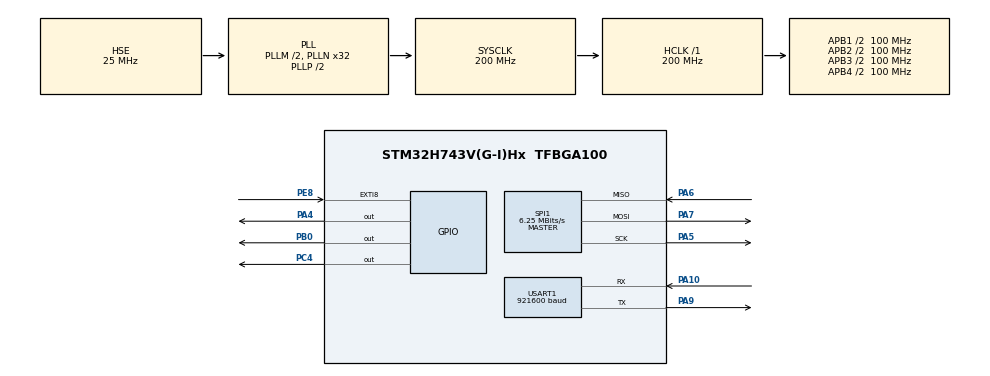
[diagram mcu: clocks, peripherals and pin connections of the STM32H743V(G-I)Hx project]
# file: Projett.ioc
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CORTEX_M7.default_mode_Activation=1
Dma.Request0=USART1_TX
Dma.USART1_TX.0.Direction=DMA_MEMORY_TO_PERIPH
Dma.USART1_TX.0.EventEnable=DISABLE
Dma.USART1_TX.0.FIFOMode=DMA_FIFOMODE_DISABLE
Dma.USART1_TX.0.Instance=DMA1_Stream0
Dma.USART1_TX.0.MemDataAlignment=DMA_MDATAALIGN_BYTE
Dma.USART1_TX.0.MemInc=DMA_MINC_ENABLE
Dma.USART1_TX.0.Mode=DMA_NORMAL
Dma.USART1_TX.0.PeriphDataAlignment=DMA_PDATAALIGN_BYTE
Dma.USART1_TX.0.PeriphInc=DMA_PINC_DISABLE
Dma.USART1_TX.0.Polarity=HAL_DMAMUX_REQ_GEN_RISING
Dma.USART1_TX.0.Priority=DMA_PRIORITY_LOW
Dma.USART1_TX.0.RequestNumber=1
Dma.USART1_TX.0.SignalID=NONE
Dma.USART1_TX.0.SyncEnable=DISABLE
Dma.USART1_TX.0.SyncPolarity=HAL_DMAMUX_SYNC_NO_EVENT
Dma.USART1_TX.0.SyncRequestNumber=1
Dma.USART1_TX.0.SyncSignalID=NONE
Mcu.Family=STM32H7
Mcu.Name=STM32H743V(G-I)Hx
Mcu.Package=TFBGA100
NVIC.DMA1_Stream0_IRQn=true\:0\:0\:false\:false\:true\:false\:true\:true
NVIC.EXTI9_5_IRQn=true\:0\:0\:false\:false\:true\:true\:true\:true
NVIC.PriorityGroup=NVIC_PRIORITYGROUP_4
NVIC.USART1_IRQn=true\:0\:0\:false\:false\:true\:true\:true\:true
PA10.GPIO_Speed=GPIO_SPEED_FREQ_VERY_HIGH
PA10.Mode=Asynchronous
PA10.Signal=USART1_RX
PA4.GPIO_ModeDefaultOutputPP=GPIO_MODE_OUTPUT_PP
PA4.GPIO_Speed=GPIO_SPEED_FREQ_HIGH
PA4.PinState=GPIO_PIN_SET
PA4.Signal=GPIO_Output
PA5.Mode=Full_Duplex_Master
PA5.Signal=SPI1_SCK
PA6.Mode=Full_Duplex_Master
PA6.Signal=SPI1_MISO
PA7.Mode=Full_Duplex_Master
PA7.Signal=SPI1_MOSI
PA9.GPIO_Speed=GPIO_SPEED_FREQ_VERY_HIGH
PA9.Mode=Asynchronous
PA9.Signal=USART1_TX
PB0.GPIO_ModeDefaultOutputPP=GPIO_MODE_OUTPUT_PP
PB0.GPIO_Speed=GPIO_SPEED_FREQ_HIGH
PB0.PinState=GPIO_PIN_SET
PB0.Signal=GPIO_Output
PC4.GPIO_ModeDefaultOutputPP=GPIO_MODE_OUTPUT_PP
PC4.GPIO_PuPd=GPIO_NOPULL
PC4.GPIO_Speed=GPIO_SPEED_FREQ_HIGH
PC4.PinState=GPIO_PIN_SET
PC4.Signal=GPIO_Output
PE8.GPIO_ModeDefaultEXTI=GPIO_MODE_IT_RISING
PE8.GPIO_PuPd=GPIO_PULLDOWN
PE8.Signal=GPXTI8
PH0-OSC_IN\ (PH0).Mode=HSE-External-Oscillator
PH0-OSC_IN\ (PH0).Signal=RCC_OSC_IN
PH1-OSC_OUT\ (PH1).Mode=HSE-External-Oscillator
PH1-OSC_OUT\ (PH1).Signal=RCC_OSC_OUT
ProjectManager.HeapSize=0x200
ProjectManager.StackSize=0x400
ProjectManager.TargetToolchain=MDK-ARM V5.32
RCC.ADCFreq_Value=50390625
RCC.APB1Freq_Value=100000000
RCC.APB2Freq_Value=100000000
RCC.APB3Freq_Value=100000000
RCC.APB4Freq_Value=100000000
RCC.CortexFreq_Value=200000000
RCC.D1PPRE=RCC_APB3_DIV2
RCC.D2PPRE1=RCC_APB1_DIV2
RCC.D2PPRE2=RCC_APB2_DIV2
RCC.D3PPRE=RCC_APB4_DIV2
RCC.DIVM1=2
RCC.DIVM3=4
RCC.DIVN1=32
RCC.DIVN3=40
RCC.DIVP3=5
RCC.DIVQ3=5
RCC.HCLKFreq_Value=200000000
RCC.HSE_VALUE=25000000
RCC.PLL2FRACN=0
RCC.PLL3FRACN=0
RCC.PLLFRACN=0
RCC.PLLSourceVirtual=RCC_PLLSOURCE_HSE
RCC.SPI123CLockSelection=RCC_SPI123CLKSOURCE_PLL3
RCC.SPI6CLockSelection=RCC_SPI6CLKSOURCE_HSI
RCC.SYSCLKFreq_VALUE=200000000
RCC.SYSCLKSource=RCC_SYSCLKSOURCE_PLLCLK
RCC.USART16CLockSelection=RCC_USART16CLKSOURCE_PLL3
RCC.USBFreq_Value=200000000
SPI1.BaudRatePrescaler=SPI_BAUDRATEPRESCALER_8
SPI1.CalculateBaudRate=6.25 MBits/s
SPI1.DataSize=SPI_DATASIZE_8BIT
SPI1.Direction=SPI_DIRECTION_2LINES
SPI1.Mode=SPI_MODE_MASTER
SPI1.VirtualType=VM_MASTER
USART1.BaudRate=921600
USART1.VirtualMode-Asynchronous=VM_ASYNC
VP_MEMORYMAP_VS_MEMORYMAP.Mode=CurAppReg
board=custom

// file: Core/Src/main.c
/* USER CODE BEGIN Header */
/**
  ******************************************************************************
  * @file           : main.c
  * @brief          : Main program body
  ******************************************************************************
  * @attention
  *
  * Copyright (c) 2026 STMicroelectronics.
  * All rights reserved.
  *
  * This software is licensed under terms that can be found in the LICENSE file
  * in the root directory of this software component.
  * If no LICENSE file comes with this software, it is provided AS-IS.
  *
  ******************************************************************************
  */
/* USER CODE END Header */
#include "main.h"
#include "dma.h"
#include "memorymap.h"
#include "spi.h"
#include "usart.h"
#include "gpio.h"

/* USER CODE BEGIN PV */
SCH1_result sch_data;
uint8_t sch_dryFlag = 0;
MMC5983_Data_TypeDef mmc_data;
MMC5983_Error_TypeDef Err_out;
int8_t Err_Init = 0;
/* USER CODE END PV */

void SystemClock_Config(void);
void PeriphCommonClock_Config(void);
static void MPU_Config(void);

int main(void)
{

  /* MPU Configuration--------------------------------------------------------*/
  MPU_Config();

  /* MCU Configuration--------------------------------------------------------*/

  /* Reset of all peripherals, Initializes the Flash interface and the Systick. */
  HAL_Init();

  /* Configure the system clock */
  SystemClock_Config();

  /* Configure the peripherals common clocks */
  PeriphCommonClock_Config();

  /* Initialize all configured peripherals */
  MX_GPIO_Init();
  MX_DMA_Init();
  MX_USART1_UART_Init();
  MX_SPI1_Init();
  /* USER CODE BEGIN 2 */
  Err_Init = SCH16T_SetFilter_and_Init(true);
  MMC5983_Init();

  Err_out = MMC5983_ID_Verify();
  /* USER CODE END 2 */

  /* Infinite loop */
  /* USER CODE BEGIN WHILE */
	while (1)
	{
		if (sch_dryFlag == 1) //未做分频，dry频率为737.5Hz，后续根据需求软件分频
		{
			sch_dryFlag = 0;
			SCH16T_GetSingleData(&sch_data);
			MMC5983_Data_Read(&mmc_data);	//以100hz速率读取磁力计数据即可
			SendData_226Byte();
		}

    /* USER CODE END WHILE */

  }
}

void SystemClock_Config(void)
{
  RCC_OscInitTypeDef RCC_OscInitStruct = {0};
  RCC_ClkInitTypeDef RCC_ClkInitStruct = {0};

  /** Supply configuration update enable
  */
  HAL_PWREx_ConfigSupply(PWR_LDO_SUPPLY);

  /** Configure the main internal regulator output voltage
  */
  __HAL_PWR_VOLTAGESCALING_CONFIG(PWR_REGULATOR_VOLTAGE_SCALE3);

  while(!__HAL_PWR_GET_FLAG(PWR_FLAG_VOSRDY)) {}

  /** Initializes the RCC Oscillators according to the specified parameters
  * in the RCC_OscInitTypeDef structure.
  */
  RCC_OscInitStruct.OscillatorType = RCC_OSCILLATORTYPE_HSE;
  RCC_OscInitStruct.HSEState = RCC_HSE_ON;
  RCC_OscInitStruct.PLL.PLLState = RCC_PLL_ON;
  RCC_OscInitStruct.PLL.PLLSource = RCC_PLLSOURCE_HSE;
  RCC_OscInitStruct.PLL.PLLM = 2;
  RCC_OscInitStruct.PLL.PLLN = 32;
  RCC_OscInitStruct.PLL.PLLP = 2;
  RCC_OscInitStruct.PLL.PLLQ = 2;
  RCC_OscInitStruct.PLL.PLLR = 2;
  RCC_OscInitStruct.PLL.PLLRGE = RCC_PLL1VCIRANGE_3;
  RCC_OscInitStruct.PLL.PLLVCOSEL = RCC_PLL1VCOWIDE;
  RCC_OscInitStruct.PLL.PLLFRACN = 0;
  if (HAL_RCC_OscConfig(&RCC_OscInitStruct) != HAL_OK)
  {
    Error_Handler();
  }

  /** Initializes the CPU, AHB and APB buses clocks
  */
  RCC_ClkInitStruct.ClockType = RCC_CLOCKTYPE_HCLK|RCC_CLOCKTYPE_SYSCLK
                              |RCC_CLOCKTYPE_PCLK1|RCC_CLOCKTYPE_PCLK2
                              |RCC_CLOCKTYPE_D3PCLK1|RCC_CLOCKTYPE_D1PCLK1;
  RCC_ClkInitStruct.SYSCLKSource = RCC_SYSCLKSOURCE_PLLCLK;
  RCC_ClkInitStruct.SYSCLKDivider = RCC_SYSCLK_DIV1;
  RCC_ClkInitStruct.AHBCLKDivider = RCC_HCLK_DIV1;
  RCC_ClkInitStruct.APB3CLKDivider = RCC_APB3_DIV2;
  RCC_ClkInitStruct.APB1CLKDivider = RCC_APB1_DIV2;
  RCC_ClkInitStruct.APB2CLKDivider = RCC_APB2_DIV2;
  RCC_ClkInitStruct.APB4CLKDivider = RCC_APB4_DIV2;

  if (HAL_RCC_ClockConfig(&RCC_ClkInitStruct, FLASH_LATENCY_4) != HAL_OK)
  {
    Error_Handler();
  }
}

void PeriphCommonClock_Config(void)
{
  RCC_PeriphCLKInitTypeDef PeriphClkInitStruct = {0};

  /** Initializes the peripherals clock
  */
  PeriphClkInitStruct.PeriphClockSelection = RCC_PERIPHCLK_SPI1|RCC_PERIPHCLK_USART1;
  PeriphClkInitStruct.PLL3.PLL3M = 4;
  PeriphClkInitStruct.PLL3.PLL3N = 40;
  PeriphClkInitStruct.PLL3.PLL3P = 5;
  PeriphClkInitStruct.PLL3.PLL3Q = 5;
  PeriphClkInitStruct.PLL3.PLL3R = 2;
  PeriphClkInitStruct.PLL3.PLL3RGE = RCC_PLL3VCIRANGE_2;
  PeriphClkInitStruct.PLL3.PLL3VCOSEL = RCC_PLL3VCOWIDE;
  PeriphClkInitStruct.PLL3.PLL3FRACN = 0;
  PeriphClkInitStruct.Spi123ClockSelection = RCC_SPI123CLKSOURCE_PLL3;
  PeriphClkInitStruct.Usart16ClockSelection = RCC_USART16CLKSOURCE_PLL3;
  if (HAL_RCCEx_PeriphCLKConfig(&PeriphClkInitStruct) != HAL_OK)
  {
    Error_Handler();
  }
}

/* USER CODE BEGIN 4 */

void HAL_GPIO_EXTI_Callback(uint16_t GPIO_Pin)
{
	if (GPIO_Pin == GPIO_PIN_8)
    {
        sch_dryFlag = 1;
    }
}

/* USER CODE END 4 */

 /* MPU Configuration */

void MPU_Config(void)
{
  MPU_Region_InitTypeDef MPU_InitStruct = {0};

  /* Disables the MPU */
  HAL_MPU_Disable();

  /** Initializes and configures the Region and the memory to be protected
  */
  MPU_InitStruct.Enable = MPU_REGION_ENABLE;
  MPU_InitStruct.Number = MPU_REGION_NUMBER0;
  MPU_InitStruct.BaseAddress = 0x0;
  MPU_InitStruct.Size = MPU_REGION_SIZE_4GB;
  MPU_InitStruct.SubRegionDisable = 0x87;
  MPU_InitStruct.TypeExtField = MPU_TEX_LEVEL0;
  MPU_InitStruct.AccessPermission = MPU_REGION_NO_ACCESS;
  MPU_InitStruct.DisableExec = MPU_INSTRUCTION_ACCESS_DISABLE;
  MPU_InitStruct.IsShareable = MPU_ACCESS_SHAREABLE;
  MPU_InitStruct.IsCacheable = MPU_ACCESS_NOT_CACHEABLE;
  MPU_InitStruct.IsBufferable = MPU_ACCESS_NOT_BUFFERABLE;

  HAL_MPU_ConfigRegion(&MPU_InitStruct);
  /* Enables the MPU */
  HAL_MPU_Enable(MPU_PRIVILEGED_DEFAULT);

}

void Error_Handler(void)
{
  __disable_irq();
  while (1)
  {
  }
}
